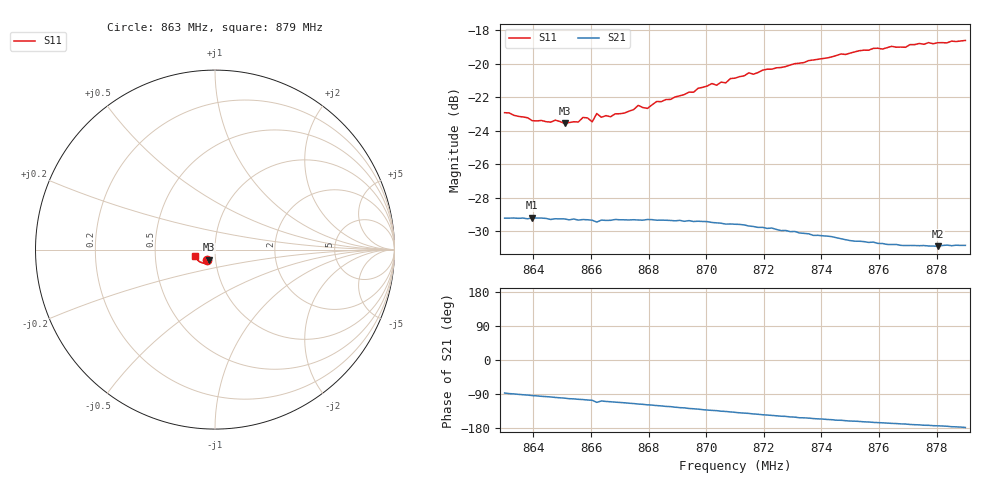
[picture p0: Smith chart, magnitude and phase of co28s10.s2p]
# HZ S RI R 50
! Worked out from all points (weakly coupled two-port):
!   101 points, 863 MHz to 879 MHz, reference 50 ohm
!   highest |S21| = -29.19 dB at 863.96 MHz (marker M1); lowest = -30.9 dB at 878.04 MHz (marker M2)
!   lowest |S11| = -23.6 dB at 865.08 MHz (marker M3), VSWR 1.14, Z = 46.3 - j5.23 ohm
!   |S11| at or under -10 dB: start of sweep to end of sweep
!   S12 and S22 are empty: the file has one direction only
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8.63e8  -0.0447 -0.0557  0.00175 -0.0346  0 0  0 0
8.6396e8  -0.0392 -0.0551  -0.0024 -0.0346  0 0  0 0
8.6476e8  -0.038 -0.0562  -0.00525 -0.0341  0 0  0 0
8.6508e8  -0.0353 -0.0562  -0.00631 -0.0339  0 0  0 0
8.6556e8  -0.035 -0.0572  -0.00812 -0.0332  0 0  0 0
8.6572e8  -0.0352 -0.0595  -0.00853 -0.0332  0 0  0 0
8.6604e8  -0.0333 -0.0582  -0.00958 -0.0328  0 0  0 0
8.662e8  -0.0371 -0.0606  -0.0125 -0.0313  0 0  0 0
8.6636e8  -0.0354 -0.0595  -0.0106 -0.0325  0 0  0 0
8.6668e8  -0.0336 -0.0608  -0.0117 -0.032  0 0  0 0
8.6748e8  -0.0337 -0.0647  -0.0145 -0.031  0 0  0 0
8.6764e8  -0.0359 -0.066  -0.0151 -0.0307  0 0  0 0
8.6796e8  -0.0348 -0.0648  -0.0163 -0.0302  0 0  0 0
8.6828e8  -0.0362 -0.0681  -0.0172 -0.0295  0 0  0 0
8.6844e8  -0.037 -0.0676  -0.0176 -0.0292  0 0  0 0
8.71e8  -0.0489 -0.0762  -0.0247 -0.0222  0 0  0 0
8.7148e8  -0.0542 -0.0767  -0.0255 -0.0206  0 0  0 0
8.7164e8  -0.053 -0.0765  -0.0259 -0.02  0 0  0 0
8.7372e8  -0.0705 -0.0746  -0.0278 -0.0132  0 0  0 0
8.7644e8  -0.0952 -0.0602  -0.0282 -0.00637  0 0  0 0
8.7804e8  -0.1058 -0.0463  -0.0284 -0.00312  0 0  0 0
8.79e8  -0.1115 -0.0365  -0.0287 -0.00093  0 0  0 0
